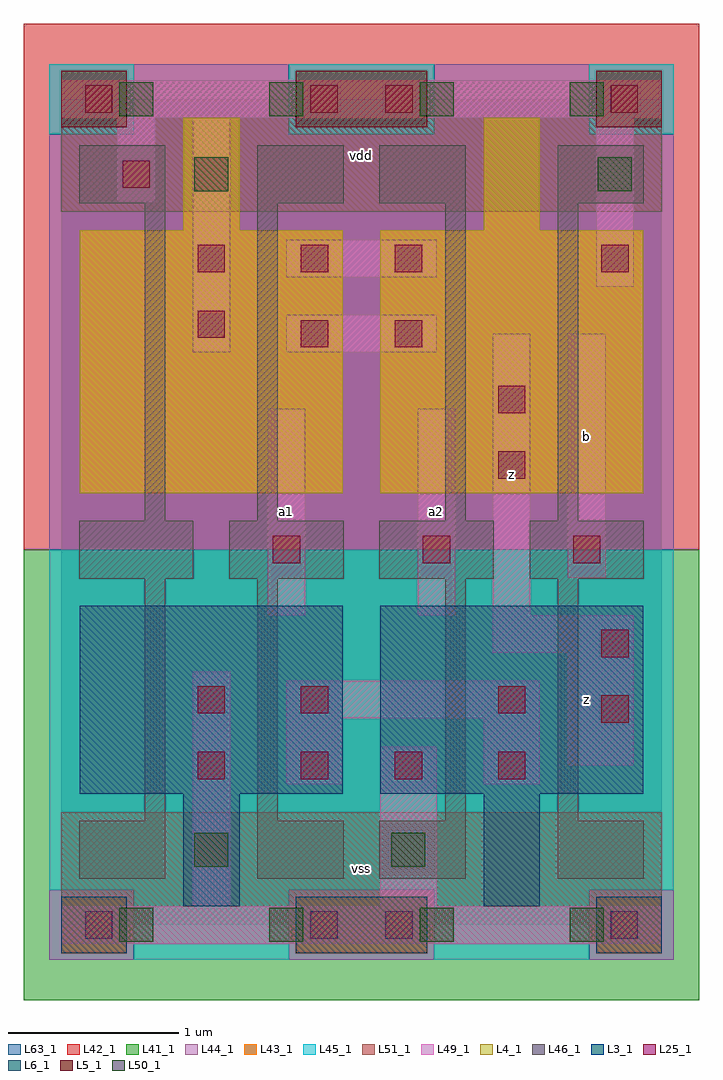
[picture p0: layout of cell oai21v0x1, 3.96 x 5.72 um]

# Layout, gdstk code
import gdstk
lib = gdstk.Library(unit=1e-6, precision=1e-09)
def R(c, l, rs):  # rectangles x0, y0, x1, y1
    for r in rs: c.add(gdstk.rectangle(r[:2], r[2:], *l))
def A(c, l, x, y, w, h, nx, ny, dx, dy):  # array of equal rectangles
    R(c, l, [(x+i*dx, y+j*dy, x+i*dx+w, y+j*dy+h) for i in range(nx) for j in range(ny)])
L3_1 = (3, 1)
L4_1 = (4, 1)
L5_1 = (5, 1)
L6_1 = (6, 1)
L25_1 = (25, 1)
L41_1 = (41, 1)
L42_1 = (42, 1)
L43_1 = (43, 1)
L44_1 = (44, 1)
L45_1 = (45, 1)
L46_1 = (46, 1)
L49_1 = (49, 1)
L50_1 = (50, 1)
L51_1 = (51, 1)
L63_1 = (63, 1)

oai21v0x1 = lib.new_cell('oai21v0x1')
R(oai21v0x1, L3_1, [(0.715,0.11,1.045,0.77), (2.475,0.11,2.805,0.77), (0.11,0.77,1.65,1.87), (1.87,0.77,3.41,1.87)])
R(oai21v0x1, L4_1, [(0.11,2.53,1.65,4.07), (1.87,2.53,3.41,4.07), (0.715,4.07,1.045,4.73), (2.475,4.07,2.805,4.73)])
R(oai21v0x1, L5_1, [(0,4.675,0.385,5.005), (1.375,4.675,2.145,5.005), (3.135,4.675,3.52,5.005)])
R(oai21v0x1, L6_1, [(0,-0.165,0.385,0.165), (1.375,-0.165,2.145,0.165), (3.135,-0.165,3.52,0.165)])
A(oai21v0x1, L25_1, 1.24, 2.12, 0.16, 0.16, 3, 1, 0.88, 0)
R(oai21v0x1, L25_1, [(0.14,-0.08,0.3,0.08), (1.46,-0.08,1.62,0.08), (1.9,-0.08,2.06,0.08), (3.22,-0.08,3.38,0.08), (0.8,0.855,0.96,1.015), (1.405,0.855,1.565,1.015), (1.955,0.855,2.115,1.015), (2.56,0.855,2.72,1.015), (3.165,1.185,3.325,1.345), (0.8,1.24,0.96,1.4), (1.405,1.24,1.565,1.4), (2.56,1.24,2.72,1.4), (3.165,1.57,3.325,1.73), (2.56,2.615,2.72,2.775), (2.56,3,2.72,3.16), (1.405,3.385,1.565,3.545), (1.955,3.385,2.115,3.545), (0.8,3.44,0.96,3.6), (0.8,3.825,0.96,3.985), (1.405,3.825,1.565,3.985), (1.955,3.825,2.115,3.985), (3.165,3.825,3.325,3.985), (0.36,4.32,0.52,4.48), (0.14,4.76,0.3,4.92), (1.46,4.76,1.62,4.92), (1.9,4.76,2.06,4.92), (3.22,4.76,3.38,4.92)])
R(oai21v0x1, L41_1, [(-0.22,-0.44,3.74,2.2)])
R(oai21v0x1, L42_1, [(-0.22,2.2,3.74,5.28)])
R(oai21v0x1, L43_1, [(0,-0.165,0.385,0.165), (1.375,-0.165,2.145,0.165), (3.135,-0.165,3.52,0.165), (0.715,0.11,1.045,0.77), (2.475,0.11,2.805,0.77), (0.11,0.77,1.65,1.87), (1.87,0.77,3.41,1.87), (0.11,2.53,1.65,4.07), (1.87,2.53,3.41,4.07), (0.715,4.07,1.045,4.73), (2.475,4.07,2.805,4.73), (0,4.675,0.385,5.005), (1.375,4.675,2.145,5.005), (3.135,4.675,3.52,5.005)])
R(oai21v0x1, L44_1, [(-0.07,-0.205,0.425,0.205), (1.335,-0.205,2.185,0.205), (3.095,-0.205,3.59,0.205), (-0.07,2.2,3.59,4.635), (0.425,4.635,1.335,5.045), (2.185,4.635,3.095,5.045)])
R(oai21v0x1, L45_1, [(0.425,-0.205,1.335,0.205), (2.185,-0.205,3.095,0.205), (-0.07,0.205,3.59,2.2), (-0.07,4.635,0.425,5.045), (1.335,4.635,2.185,5.045), (3.095,4.635,3.59,5.045)])
A(oai21v0x1, L46_1, 0.105, 2.03, 0.67, 0.34, 4, 1, 0.88, 0)
R(oai21v0x1, L46_1, [(0.105,0.27,0.61,0.61), (1.15,0.27,1.655,0.61), (1.865,0.27,2.37,0.61), (2.91,0.27,3.415,0.61), (0.49,0.61,0.61,2.03), (1.15,0.61,1.27,2.03), (2.25,0.61,2.37,2.03), (2.91,0.61,3.03,2.03), (0.49,2.37,0.61,4.23), (1.15,2.37,1.27,4.23), (2.25,2.37,2.37,4.23), (2.91,2.37,3.03,4.23), (0.105,4.23,0.61,4.57), (1.15,4.23,1.655,4.57), (1.865,4.23,2.37,4.57), (2.91,4.23,3.415,4.57)])
R(oai21v0x1, L49_1, [(0,-0.11,3.52,0.11), (0.77,0.11,0.99,1.485), (1.87,0.11,2.2,1.045), (1.32,0.825,1.65,1.21), (2.475,0.825,2.805,1.21), (2.97,0.935,3.355,1.595), (1.32,1.21,2.805,1.43), (2.53,1.595,3.355,1.815), (1.21,1.815,1.43,3.025), (2.09,1.815,2.31,3.025), (2.53,1.815,2.75,3.465), (2.97,2.035,3.19,3.465), (0.77,3.355,0.99,4.73), (1.32,3.355,2.2,3.575), (3.135,3.74,3.355,4.73), (1.32,3.795,2.2,4.015), (0.33,4.235,0.55,4.73), (0,4.73,3.52,4.95)])
A(oai21v0x1, L50_1, 0.34, -0.1, 0.2, 0.2, 4, 2, 0.88, 4.84)
R(oai21v0x1, L50_1, [(0.78,0.34,0.98,0.54), (1.935,0.34,2.135,0.54), (0.78,4.3,0.98,4.5), (3.145,4.3,3.345,4.5)])
R(oai21v0x1, L51_1, [(0,-0.11,3.52,0.66), (0,4.18,3.52,4.95)])
R(oai21v0x1, L63_1, [(0,0,3.52,4.84)])
oai21v0x1.add(gdstk.Label('a1', (1.32,2.42), layer=49, texttype=1))
oai21v0x1.add(gdstk.Label('a2', (2.2,2.42), layer=49, texttype=1))
oai21v0x1.add(gdstk.Label('z', (3.08,1.32), layer=49, texttype=1))
oai21v0x1.add(gdstk.Label('z', (2.64,2.64), layer=49, texttype=1))
oai21v0x1.add(gdstk.Label('b', (3.08,2.86), layer=49, texttype=1))
oai21v0x1.add(gdstk.Label('vss', (1.76,0.33), layer=51, texttype=1))
oai21v0x1.add(gdstk.Label('vdd', (1.76,4.51), layer=51, texttype=1))

lib.write_gds('oai21v0x1.gds')
